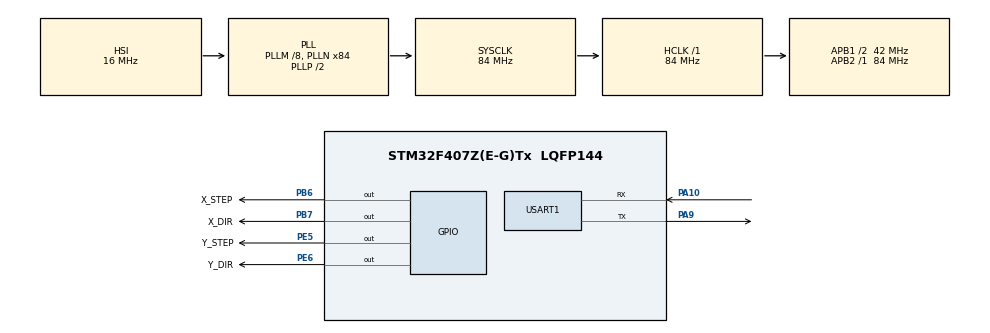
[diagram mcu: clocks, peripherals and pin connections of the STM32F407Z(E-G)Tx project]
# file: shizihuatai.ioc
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Mcu.Family=STM32F4
Mcu.Name=STM32F407Z(E-G)Tx
Mcu.Package=LQFP144
NVIC.PriorityGroup=NVIC_PRIORITYGROUP_4
NVIC.TIM3_IRQn=true\:0\:0\:false\:false\:true\:true\:true\:true
NVIC.USART1_IRQn=true\:1\:0\:true\:false\:true\:true\:true\:true
PA10.Mode=Asynchronous
PA10.Signal=USART1_RX
PA13.Mode=Serial_Wire
PA13.Signal=SYS_JTMS-SWDIO
PA14.Mode=Serial_Wire
PA14.Signal=SYS_JTCK-SWCLK
PA9.Mode=Asynchronous
PA9.Signal=USART1_TX
PB6.GPIO_Label=X_STEP
PB6.GPIO_Speed=GPIO_SPEED_FREQ_HIGH
PB6.Signal=GPIO_Output
PB7.GPIO_Label=X_DIR
PB7.GPIO_Speed=GPIO_SPEED_FREQ_HIGH
PB7.Signal=GPIO_Output
PE5.GPIO_Label=Y_STEP
PE5.GPIO_Speed=GPIO_SPEED_FREQ_HIGH
PE5.Signal=GPIO_Output
PE6.GPIO_Label=Y_DIR
PE6.GPIO_Speed=GPIO_SPEED_FREQ_HIGH
PE6.Signal=GPIO_Output
PH0-OSC_IN.Mode=HSE-External-Oscillator
PH0-OSC_IN.Signal=RCC_OSC_IN
PH1-OSC_OUT.Mode=HSE-External-Oscillator
PH1-OSC_OUT.Signal=RCC_OSC_OUT
ProjectManager.HeapSize=0x200
ProjectManager.StackSize=0x400
ProjectManager.TargetToolchain=MDK-ARM V5.32
RCC.48MHZClocksFreq_Value=42000000
RCC.AHBFreq_Value=84000000
RCC.APB1CLKDivider=RCC_HCLK_DIV2
RCC.APB1Freq_Value=42000000
RCC.APB1TimFreq_Value=84000000
RCC.APB2Freq_Value=84000000
RCC.APB2TimFreq_Value=84000000
RCC.CortexFreq_Value=84000000
RCC.HCLKFreq_Value=84000000
RCC.HSE_VALUE=25000000
RCC.HSI_VALUE=16000000
RCC.LSE_VALUE=32768
RCC.PLLM=8
RCC.PLLN=84
RCC.SYSCLKFreq_VALUE=84000000
RCC.SYSCLKSource=RCC_SYSCLKSOURCE_PLLCLK
RCC.VCOOutputFreq_Value=168000000
TIM3.AutoReloadPreload=TIM_AUTORELOAD_PRELOAD_ENABLE
TIM3.Period=999
TIM3.Prescaler=83
USART1.VirtualMode=VM_ASYNC
VP_TIM3_VS_ClockSourceINT.Mode=Internal
board=custom

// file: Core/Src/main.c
/* USER CODE BEGIN Header */
/**
  ******************************************************************************
  * @file           : main.c
  * @brief          : Main program body
  ******************************************************************************
  * @attention
  *
  * Copyright (c) 2026 STMicroelectronics.
  * All rights reserved.
  *
  * This software is licensed under terms that can be found in the LICENSE file
  * in the root directory of this software component.
  * If no LICENSE file comes with this software, it is provided AS-IS.
  *
  ******************************************************************************
  */
/* USER CODE END Header */
#include "main.h"
#include "tim.h"
#include "usart.h"
#include "gpio.h"

/* USER CODE BEGIN Includes */
#include "motor_core.h"   // 加上这个，编译器就认识 XY_Sys 和 MOTOR_IDLE 了
#include "protocol.h"     // 加上这个，编译器就认识 Protocol_Init 和 UART_SendString 了
#include <stdio.h>        // 加上这个，编译器就认识 sprintf 了
/* USER CODE END Includes */

void SystemClock_Config(void);

int main(void)
{

  /* USER CODE BEGIN 1 */
   HAL_Init();
  SystemClock_Config();
  MX_GPIO_Init();
  MX_TIM3_Init();
  MX_USART1_UART_Init();
  /* USER CODE END 1 */

  /* MCU Configuration--------------------------------------------------------*/

  /* Reset of all peripherals, Initializes the Flash interface and the Systick. */
  HAL_Init();

  /* Configure the system clock */
  SystemClock_Config();

  /* Initialize all configured peripherals */
  MX_GPIO_Init();
  MX_TIM3_Init();
  MX_USART1_UART_Init();
  /* USER CODE BEGIN 2 */
 Protocol_Init();
 XY_Sys.State = MOTOR_IDLE;
  UART_SendString("[SYS OK] Medical XY Stage Online!\r\n");
  // 【新增】：定一个变量，用来记录上次汇报的手表时间
  uint32_t last_report_time = 0;
  /* USER CODE END 2 */

  /* Infinite loop */
  while (1)
  {

    /* USER CODE BEGIN 3 */
     // 机器在运行才汇报
      if (XY_Sys.State != MOTOR_IDLE) {

          // 【核心架构升级】：非阻塞式延时！
          // 如果当前时间减去上次汇报的时间，大于等于 50 毫秒，才进去干活
          if (HAL_GetTick() - last_report_time >= 50) {

              // 进去的第一件事：更新手表时间，为下一次 50ms 倒计时做准备
              last_report_time = HAL_GetTick();

              // 执行汇报动作，CPU 绝不卡死
              char report_buf[64];
              sprintf(report_buf, "POS,%u,%u\r\n", XY_Sys.Current_X, XY_Sys.Current_Y);
              UART_SendString(report_buf);
          }
      }
      }
  /* USER CODE END 3 */
}

void SystemClock_Config(void)
{
  RCC_OscInitTypeDef RCC_OscInitStruct = {0};
  RCC_ClkInitTypeDef RCC_ClkInitStruct = {0};

  /** Configure the main internal regulator output voltage
  */
  __HAL_RCC_PWR_CLK_ENABLE();
  __HAL_PWR_VOLTAGESCALING_CONFIG(PWR_REGULATOR_VOLTAGE_SCALE1);

  /** Initializes the RCC Oscillators according to the specified parameters
  * in the RCC_OscInitTypeDef structure.
  */
  RCC_OscInitStruct.OscillatorType = RCC_OSCILLATORTYPE_HSI;
  RCC_OscInitStruct.HSIState = RCC_HSI_ON;
  RCC_OscInitStruct.HSICalibrationValue = RCC_HSICALIBRATION_DEFAULT;
  RCC_OscInitStruct.PLL.PLLState = RCC_PLL_ON;
  RCC_OscInitStruct.PLL.PLLSource = RCC_PLLSOURCE_HSI;
  RCC_OscInitStruct.PLL.PLLM = 8;
  RCC_OscInitStruct.PLL.PLLN = 84;
  RCC_OscInitStruct.PLL.PLLP = RCC_PLLP_DIV2;
  RCC_OscInitStruct.PLL.PLLQ = 4;
  if (HAL_RCC_OscConfig(&RCC_OscInitStruct) != HAL_OK)
  {
    Error_Handler();
  }

  /** Initializes the CPU, AHB and APB buses clocks
  */
  RCC_ClkInitStruct.ClockType = RCC_CLOCKTYPE_HCLK|RCC_CLOCKTYPE_SYSCLK
                              |RCC_CLOCKTYPE_PCLK1|RCC_CLOCKTYPE_PCLK2;
  RCC_ClkInitStruct.SYSCLKSource = RCC_SYSCLKSOURCE_PLLCLK;
  RCC_ClkInitStruct.AHBCLKDivider = RCC_SYSCLK_DIV1;
  RCC_ClkInitStruct.APB1CLKDivider = RCC_HCLK_DIV2;
  RCC_ClkInitStruct.APB2CLKDivider = RCC_HCLK_DIV1;

  if (HAL_RCC_ClockConfig(&RCC_ClkInitStruct, FLASH_LATENCY_2) != HAL_OK)
  {
    Error_Handler();
  }
}

void Error_Handler(void)
{
  __disable_irq();
  while (1)
  {
  }
}
